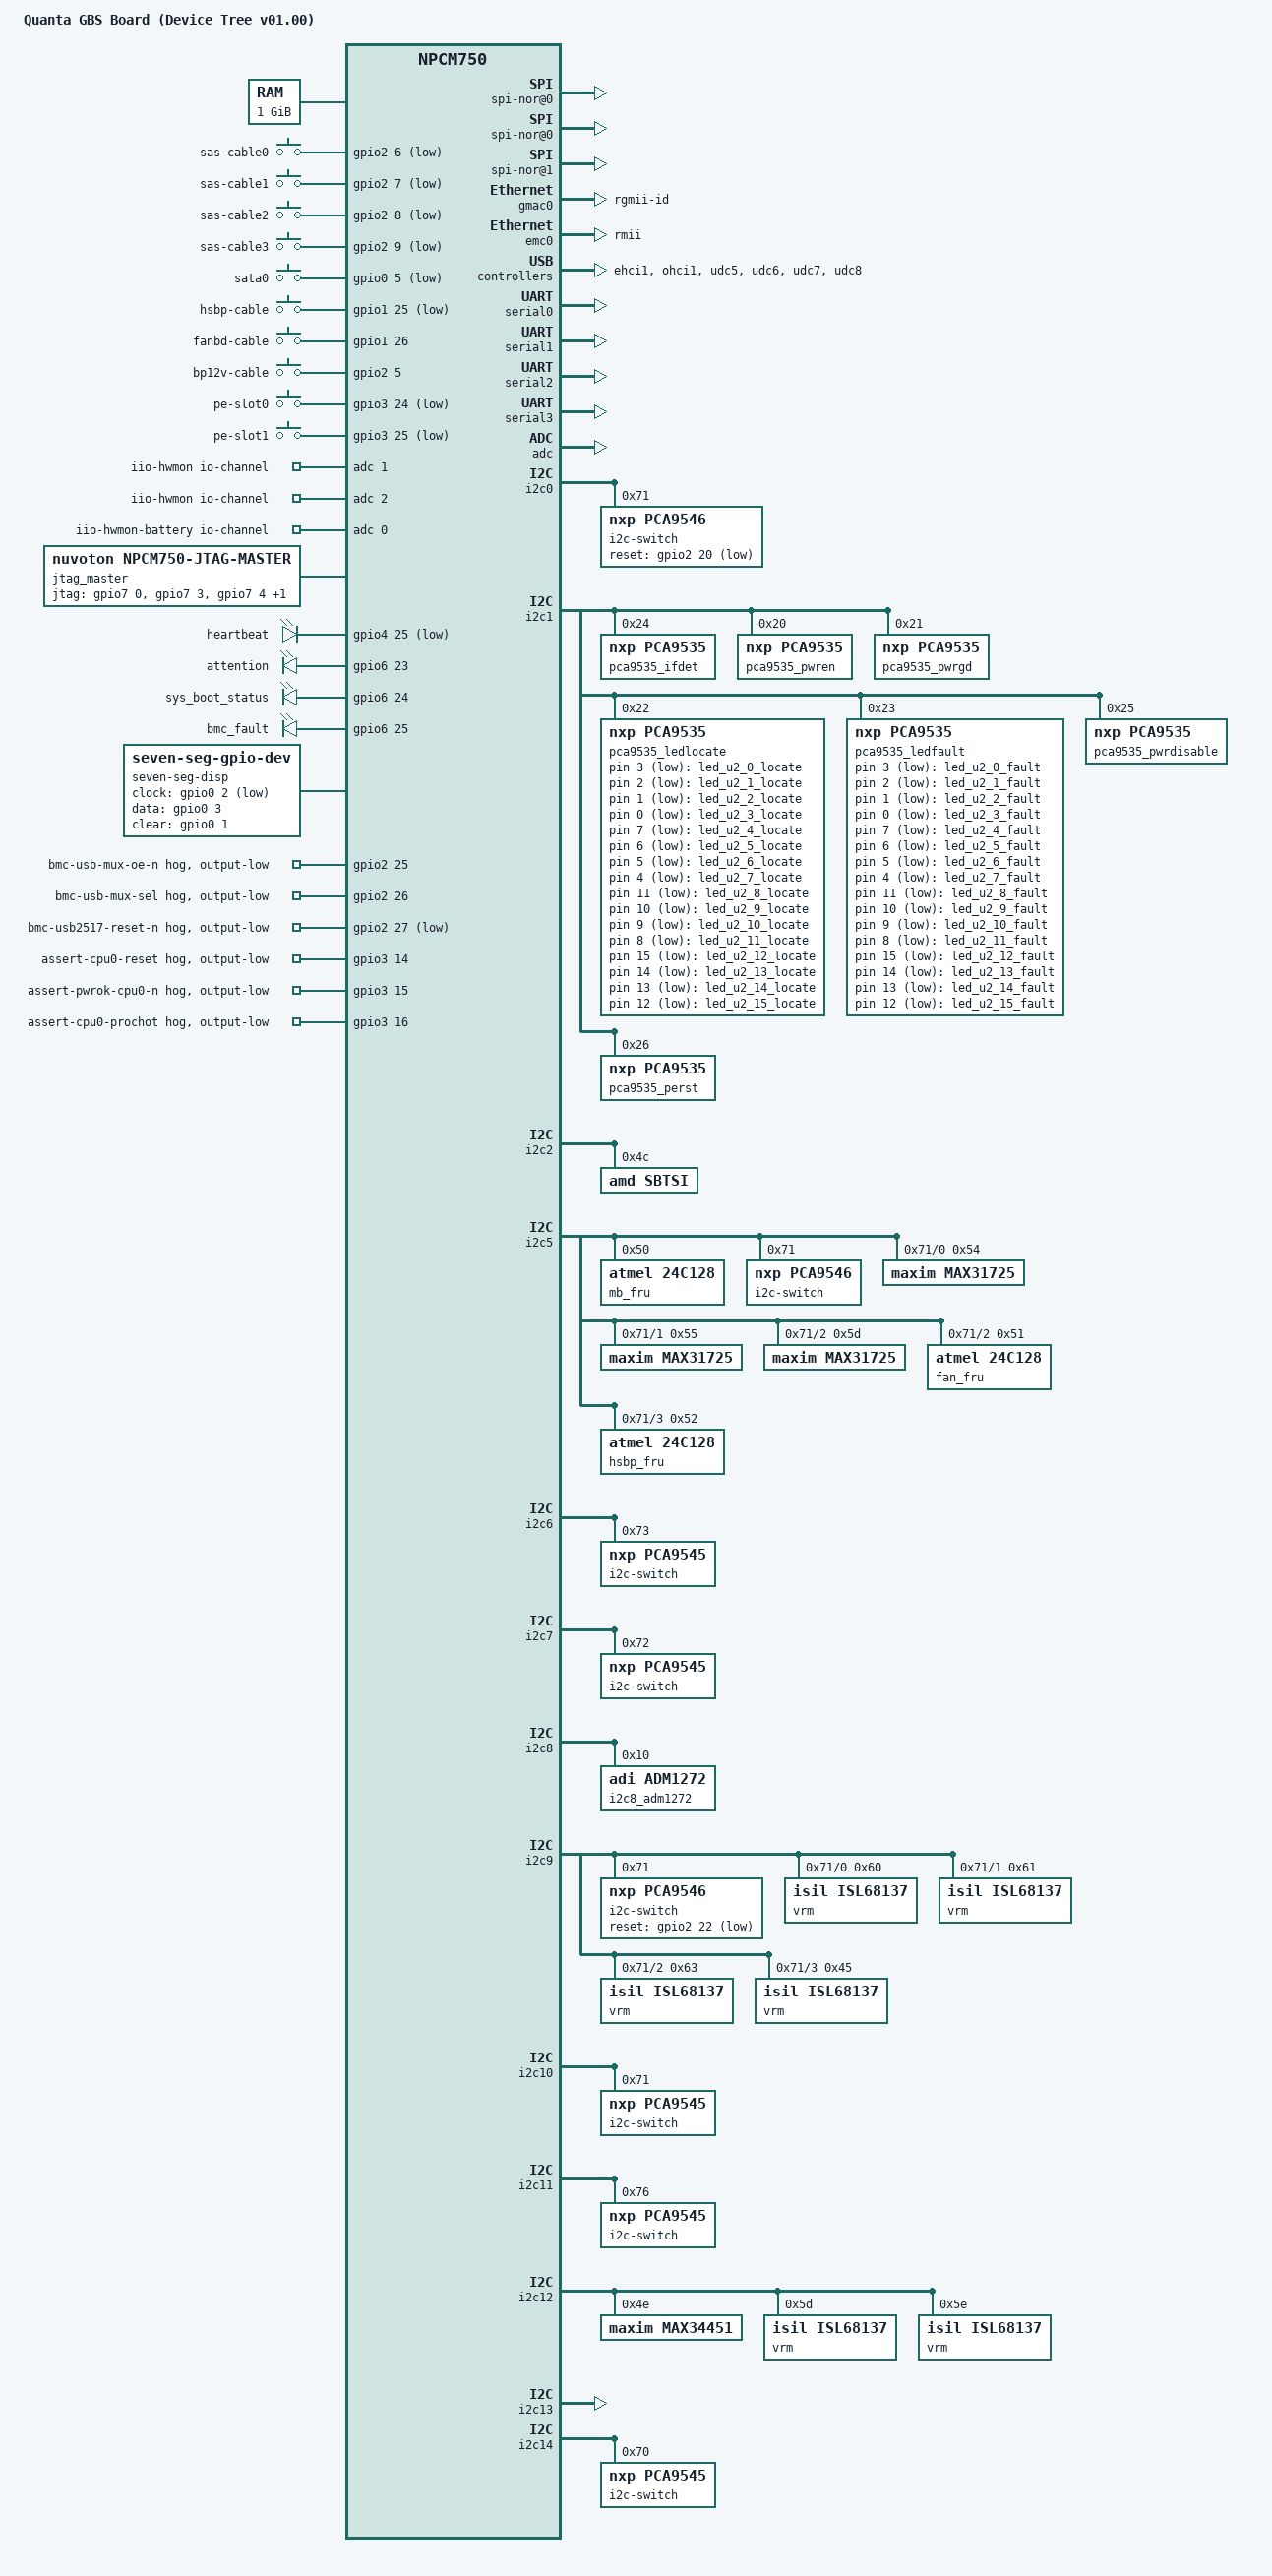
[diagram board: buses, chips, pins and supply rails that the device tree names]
// SPDX-License-Identifier: GPL-2.0
// Copyright (c) 2019 Nuvoton Technology kwliu@nuvoton.com
// Copyright (c) 2020 Quanta Computer Inc. Eddie.Lu@quantatw.com

/dts-v1/;
#include "nuvoton-npcm730.dtsi"
#include <dt-bindings/gpio/gpio.h>

/ {
	model = "Quanta GBS Board (Device Tree v01.00)";
	compatible = "nuvoton,npcm750";

	aliases {
		ethernet0 = &emc0;
		ethernet1 = &gmac0;
		serial0 = &serial0;
		serial1 = &serial1;
		serial2 = &serial2;
		serial3 = &serial3;
		udc5 = &udc5;
		udc6 = &udc6;
		udc7 = &udc7;
		udc8 = &udc8;
		i2c0 = &i2c0;
		i2c1 = &i2c1;
		i2c2 = &i2c2;
		i2c3 = &i2c3;
		i2c4 = &i2c4;
		i2c5 = &i2c5;
		i2c6 = &i2c6;
		i2c7 = &i2c7;
		i2c8 = &i2c8;
		i2c9 = &i2c9;
		i2c10 = &i2c10;
		i2c11 = &i2c11;
		i2c12 = &i2c12;
		i2c13 = &i2c13;
		i2c14 = &i2c14;
		i2c15 = &i2c15;
		fiu0 = &fiu0;
		fiu1 = &fiu3;
		i2c16 = &i2c0_slotPE0_0;
		i2c17 = &i2c0_slotPE1_1;
		i2c18 = &i2c0_slotUSB_2;
		i2c19 = &i2c0_3;
		i2c20 = &i2c5_i2cool_0;
		i2c21 = &i2c5_i2cool_1;
		i2c22 = &i2c5_i2cool_2;
		i2c23 = &i2c5_hsbp_fru_3;
		i2c24 = &i2c6_u2_15_0;
		i2c25 = &i2c6_u2_14_1;
		i2c26 = &i2c6_u2_13_2;
		i2c27 = &i2c6_u2_12_3;
		i2c28 = &i2c7_u2_11_0;
		i2c29 = &i2c7_u2_10_1;
		i2c30 = &i2c7_u2_9_2;
		i2c31 = &i2c7_u2_8_3;
		i2c32 = &i2c9_vddcr_cpu;
		i2c33 = &i2c9_vddcr_soc;
		i2c34 = &i2c9_vddio_efgh;
		i2c35 = &i2c9_vddio_abcd;
		i2c36 = &i2c10_u2_7_0;
		i2c37 = &i2c10_u2_6_1;
		i2c38 = &i2c10_u2_5_2;
		i2c39 = &i2c10_u2_4_3;
		i2c40 = &i2c11_clk_buf0_0;
		i2c41 = &i2c11_clk_buf1_1;
		i2c42 = &i2c11_clk_buf2_2;
		i2c43 = &i2c11_clk_buf3_3;
		i2c44 = &i2c14_u2_3_0;
		i2c45 = &i2c14_u2_2_1;
		i2c46 = &i2c14_u2_1_2;
		i2c47 = &i2c14_u2_0_3;
	};

	chosen {
		stdout-path = &serial0;
	};

	memory {
		reg = <0 0x40000000>;
	};

	soc {
		gcr: gcr@800000 { /* GCR_BA, System Global Control Registers */
			serial_port_mux: uart-mux-controller {
				compatible = "mmio-mux";
				#mux-control-cells = <1>;
				mux-reg-masks = <0x38 0x07>;
				idle-states = <2>; /* Serial port mode 3 (takeover) */
			};

			uart1_mode_mux: uart1-mode-mux-controller {
				compatible = "mmio-mux";
				#mux-control-cells = <1>;
				mux-reg-masks = <0x64 0x01000000>;
				idle-states = <0>; /* Set UART1 mode to normal (follow SPMOD) */
			};
		};
	};

	gpio-keys {
		compatible = "gpio-keys";
		sas-cable0 {
			label = "sas-cable0";
			gpios = <&gpio2 6 GPIO_ACTIVE_LOW>;
			linux,code = <70>;
		};

		sas-cable1 {
			label = "sas-cable1";
			gpios = <&gpio2 7 GPIO_ACTIVE_LOW>;
			linux,code = <71>;
		};

		sas-cable2 {
			label = "sas-cable2";
			gpios = <&gpio2 8 GPIO_ACTIVE_LOW>;
			linux,code = <72>;
		};

		sas-cable3 {
			label = "sas-cable3";
			gpios = <&gpio2 9 GPIO_ACTIVE_LOW>;
			linux,code = <73>;
		};

		sata0 {
			label = "sata0";
			gpios = <&gpio0 5 GPIO_ACTIVE_LOW>;
			linux,code = <5>;
		};

		hsbp-cable {
			label = "hsbp-cable";
			gpios = <&gpio1 25 GPIO_ACTIVE_LOW>;
			linux,code = <57>;
		};

		fanbd-cable {
			label = "fanbd-cable";
			gpios = <&gpio1 26 GPIO_ACTIVE_HIGH>;
			linux,code = <58>;
		};

		bp12v-cable {
			label = "bp12v-cable";
			gpios = <&gpio2 5 GPIO_ACTIVE_HIGH>;
			linux,code = <69>;
		};

		pe-slot0 {
			label = "pe-slot0";
			gpios = <&gpio3 24 GPIO_ACTIVE_LOW>;
			linux,code = <120>;
		};

		pe-slot1 {
			label = "pe-slot1";
			gpios = <&gpio3 25 GPIO_ACTIVE_LOW>;
			linux,code = <121>;
		};
	};

	iio-hwmon {
		compatible = "iio-hwmon";
		io-channels = <&adc 1>, <&adc 2>;
	};

	iio-hwmon-battery {
		compatible = "iio-hwmon";
		io-channels = <&adc 0>;
	};

	jtag_master { /* Connect to CPLD by using GPIO */
		compatible = "nuvoton,npcm750-jtag-master";
		#address-cells = <1>;
		#size-cells = <1>;

		dev-num = <0>; /* /dev/jtag0 */
		mode = "gpio"; /* pspi or gpio */

		jtag-gpios = <&gpio7 0 GPIO_ACTIVE_HIGH>, /* TCK - gpio224 */
				<&gpio7 3 GPIO_ACTIVE_HIGH>, /* TDI - gpio227 */
				<&gpio7 4 GPIO_ACTIVE_HIGH>, /* TDO - gpio228 */
				<&gpio7 6 GPIO_ACTIVE_HIGH>; /* TMS - gpio230 */

		status = "okay";
	};

	leds {
		compatible = "gpio-leds";
		
		heartbeat { /* gpio153 */
			gpios = <&gpio4 25 GPIO_ACTIVE_LOW>;
			linux,default-trigger = "heartbeat";
		};

		attention { /* gpio215 */
			gpios = <&gpio6 23 GPIO_ACTIVE_HIGH>;
			default-state = "off";
		};

		sys_boot_status { /* gpio216 */
			gpios = <&gpio6 24 GPIO_ACTIVE_HIGH>;
			default-state = "keep";
			retain-state-shutdown;
		};

		bmc_fault { /* gpio217 */
			gpios = <&gpio6 25 GPIO_ACTIVE_HIGH>;
			default-state = "off";
			linux,default-trigger = "panic";
			panic-indicator;
		};
		
		led_u2_0_locate {
			gpios = <&pca9535_ledlocate 3 GPIO_ACTIVE_LOW>;
			default-state = "off";
		};

		led_u2_1_locate {
			gpios = <&pca9535_ledlocate 2 GPIO_ACTIVE_LOW>;
			default-state = "off";
		};

		led_u2_2_locate {
			gpios = <&pca9535_ledlocate 1 GPIO_ACTIVE_LOW>;
			default-state = "off";
		};

		led_u2_3_locate {
			gpios = <&pca9535_ledlocate 0 GPIO_ACTIVE_LOW>;
			default-state = "off";
		};

		led_u2_4_locate {
			gpios = <&pca9535_ledlocate 7 GPIO_ACTIVE_LOW>;
			default-state = "off";
		};

		led_u2_5_locate {
			gpios = <&pca9535_ledlocate 6 GPIO_ACTIVE_LOW>;
			default-state = "off";
		};

		led_u2_6_locate {
			gpios = <&pca9535_ledlocate 5 GPIO_ACTIVE_LOW>;
			default-state = "off";
		};

		led_u2_7_locate {
			gpios = <&pca9535_ledlocate 4 GPIO_ACTIVE_LOW>;
			default-state = "off";
		};

		led_u2_8_locate {
			gpios = <&pca9535_ledlocate 11 GPIO_ACTIVE_LOW>;
			default-state = "off";
		};

		led_u2_9_locate {
			gpios = <&pca9535_ledlocate 10 GPIO_ACTIVE_LOW>;
			default-state = "off";
		};

		led_u2_10_locate {
			gpios = <&pca9535_ledlocate 9 GPIO_ACTIVE_LOW>;
			default-state = "off";
		};

		led_u2_11_locate {
			gpios = <&pca9535_ledlocate 8 GPIO_ACTIVE_LOW>;
			default-state = "off";
		};

		led_u2_12_locate {
			gpios = <&pca9535_ledlocate 15 GPIO_ACTIVE_LOW>;
			default-state = "off";
		};

		led_u2_13_locate {
			gpios = <&pca9535_ledlocate 14 GPIO_ACTIVE_LOW>;
			default-state = "off";
		};

		led_u2_14_locate {
			gpios = <&pca9535_ledlocate 13 GPIO_ACTIVE_LOW>;
			default-state = "off";
		};

		led_u2_15_locate {
			gpios = <&pca9535_ledlocate 12 GPIO_ACTIVE_LOW>;
			default-state = "off";
		};

		led_u2_0_fault {
			gpios = <&pca9535_ledfault 3 GPIO_ACTIVE_LOW>;
			default-state = "off";
		};

		led_u2_1_fault {
			gpios = <&pca9535_ledfault 2 GPIO_ACTIVE_LOW>;
			default-state = "off";
		};

		led_u2_2_fault {
			gpios = <&pca9535_ledfault 1 GPIO_ACTIVE_LOW>;
			default-state = "off";
		};

		led_u2_3_fault {
			gpios = <&pca9535_ledfault 0 GPIO_ACTIVE_LOW>;
			default-state = "off";
		};

		led_u2_4_fault {
			gpios = <&pca9535_ledfault 7 GPIO_ACTIVE_LOW>;
			default-state = "off";
		};

		led_u2_5_fault {
			gpios = <&pca9535_ledfault 6 GPIO_ACTIVE_LOW>;
			default-state = "off";
		};

		led_u2_6_fault {
			gpios = <&pca9535_ledfault 5 GPIO_ACTIVE_LOW>;
			default-state = "off";
		};

		led_u2_7_fault {
			gpios = <&pca9535_ledfault 4 GPIO_ACTIVE_LOW>;
			default-state = "off";
		};

		led_u2_8_fault {
			gpios = <&pca9535_ledfault 11 GPIO_ACTIVE_LOW>;
			default-state = "off";
		};

		led_u2_9_fault {
			gpios = <&pca9535_ledfault 10 GPIO_ACTIVE_LOW>;
			default-state = "off";
		};

		led_u2_10_fault {
			gpios = <&pca9535_ledfault 9 GPIO_ACTIVE_LOW>;
			default-state = "off";
		};

		led_u2_11_fault {
			gpios = <&pca9535_ledfault 8 GPIO_ACTIVE_LOW>;
			default-state = "off";
		};

		led_u2_12_fault {
			gpios = <&pca9535_ledfault 15 GPIO_ACTIVE_LOW>;
			default-state = "off";
		};

		led_u2_13_fault {
			gpios = <&pca9535_ledfault 14 GPIO_ACTIVE_LOW>;
			default-state = "off";
		};

		led_u2_14_fault {
			gpios = <&pca9535_ledfault 13 GPIO_ACTIVE_LOW>;
			default-state = "off";
		};

		led_u2_15_fault {
			gpios = <&pca9535_ledfault 12 GPIO_ACTIVE_LOW>;
			default-state = "off";
		};

	};

	seven-seg-disp {
		compatible = "seven-seg-gpio-dev";
		refresh-interval-ms = /bits/ 16 <600>;
		clock-gpios = <&gpio0 2 GPIO_ACTIVE_LOW>;
		data-gpios = <&gpio0 3 GPIO_ACTIVE_HIGH>;
		clear-gpios = <&gpio0 1 GPIO_ACTIVE_HIGH>;
	};

	pcie-slot {
		pcie1: pcie-slot@1 {
			label = "PE0";
		};
		pcie2: pcie-slot@2 {
			label = "PE1";
		};
	};

	ahb { /* AHB Matrix */
		fiu0: fiu@fb000000 { /* SPI0_BA, FIU0 (for SPI0) Registers ; FIU (Flash Interface Unit) */
			pinctrl-names = "default";
			pinctrl-0 = <&spi0cs1_pins>;
			status = "okay";
			spi-nor@0 {
				compatible = "jedec,spi-nor";
				#address-cells = <1>;
				#size-cells = <1>;
				reg = <0>;
				spi-max-frequency = <19000000>;
				spi-rx-bus-width = <2>;
				label = "bmc";
				partitions@80000000 {
					compatible = "fixed-partitions";
					#address-cells = <1>;
					#size-cells = <1>;
					u-boot@0 {
						label = "u-boot";
						reg = <0x0000000 0x80000>;
					};
					u-boot-env@100000{
						label = "u-boot-env";
						reg = <0x00100000 0x40000>;
					};
					kernel@200000 {
						label = "kernel";
						reg = <0x0200000 0x500000>;
					};
					rofs@720000 {
						label = "rofs";
						reg = <0x720000 0x34e0000>;
					};
					rwfs@3c00000 {
						label = "rwfs";
						reg = <0x3c00000 0x300000>;
					};
					reserved@3f00000 {
						label = "reserved";
						reg = <0x3f00000 0x100000>;
					};
				};
			};
		};

		fiu3: fiu@c0000000 { /* SPI3_BA, FIU3 (for SPI3) Registers */
			pinctrl-0 = <&spi3_pins>, <&spi3cs1_pins>;
			status = "okay";

			spi-nor@0 {
				compatible = "jedec,spi-nor";
				#address-cells = <1>;
				#size-cells = <1>;
				reg = <0>;
				spi-max-frequency = <50000000>;
				spi-rx-bus-width = <2>;
				m25p,fast-read;
				label = "pnor";
			};
			spi-nor@1 {
				compatible = "jedec,spi-nor";
				#address-cells = <1>;
				#size-cells = <1>;
				reg = <1>;
				spi-max-frequency = <50000000>;
				spi-rx-bus-width = <2>;
				m25p,fast-read;
			};
		};

		gmac0: eth@f0802000 { /* [gmac0: eth@f0802000] GMAC1_BA, Gigabit Ethernet MAC 1 (GMAC1) Control Registers */
			status = "okay";
			phy-mode = "rgmii-id";
			snps,eee-force-disable;
		};

		emc0: eth@f0825000 { /* [emc0: eth@f0825000] EMC1_BA, Ethernet 10/100 MAC Controller (EMC1) Registers */
			status = "okay";
			phy-mode = "rmii";
			use-ncsi;
		};

		mc: memory-controller@f0824000 { /* MC_BA, Memory Controller DDR4 Protocol Controller Registers */
			compatible = "nuvoton,npcm7xx-sdram-edac";
			reg = <0xf0824000 0x1000>;
			interrupts = <GIC_SPI 25 IRQ_TYPE_LEVEL_HIGH>;
		};

		ehci1: usb@f0806000 { /* USBH_BA, USB Host Controller EHCI Registers */
			status = "okay";
		};

		ohci1: ohci@f0807000 { /* USBHO_BA, USB Host Controller OHCI Registers */
			status = "okay";
		};

		aes: aes@f0858000 { /* AES_BA, Advances Encryption Standard Encryption Accelerator (AES) */
			status = "okay";
		};

		sha: sha@f085a000 { /* SHA_BA, SHA-1 and SHA-256 Accelerator (SHA) */
			status = "okay";
		};
		
		udc5:udc@f0835000 {
			status = "okay";
		};

		udc6:udc@f0836000 {
			status = "okay";
		};

		udc7:udc@f0837000 {
			status = "okay";
		};

		udc8:udc@f0838000 {
			status = "okay";
		};

		pcimbox: pcimbox@f0848000 { /* PCIMBX_AB, Internal AHB to PCI Mailbox RAM (16KB) and registers */
			status = "okay";
		};

		apb { /* F000_0000h - */
			watchdog1: watchdog@901C { /* F000_9000h - F000_9FFFh, TMR1_BA, Timer 1 Control Registers (Timer Module 1) */
				status = "okay";
			};

			rng: rng@b000 { /* RNG_BA, Random Number Generator Control Registers */
				status = "okay";
			};

			serial0: serial@1000 { /* UART0_BA, UART 0 Control Registers (Tx, Rx for console) */
				status = "okay";
			};

			serial1: serial@2000 { /* UART1_BA, UART 1 Control Registers (Tx, Rx and modem controls) */
				status = "okay";
			};

			serial2: serial@3000 { /* UART2_BA, UART 2 Control Registers (Tx, Rx and modem controls) */
				status = "okay";
			};

			serial3: serial@4000 { /* UART3_BA, UART 3 Control Registers (Tx, Rx and modem controls) */
				status = "okay";
			};

			adc: adc@c000 { /* ADC_BA, ADC Control Registers */
				#io-channel-cells = <1>;
				status = "okay";
			};

			otp:otp@189000 { /* F018_9000h - F018_9FFFh, OTP1_BA, OTP ROM (Fuse) Registers (Key Storage Array) */
				status = "okay";
			};

			lpc_kcs: lpc_kcs@7000 { /* F000_7000h - F000_7FFFh, KCS_BA, KCS Interface Control Registers */

				kcs1: kcs1@0 {
					status = "okay";
				};

				kcs2: kcs2@0 {
					status = "okay";
				};

				kcs3: kcs3@0 {
					status = "okay";
				};
			};

			lpc_host: lpc_host@7000 {

				lpc_bpc: lpc_bpc@40 {
					monitor-ports = <0x80>;
					status = "okay";
				};
			};

			i2c0: i2c@80000 { /* SMB0_BA, SMBus 0 Control Registers */
				#address-cells = <1>;
				#size-cells = <0>;
				bus-frequency = <100000>;
				status = "okay";

				i2c-switch@71 {
					compatible = "nxp,pca9546";
					#address-cells = <1>;
					#size-cells = <0>;
					reg = <0x71>;
					i2c-mux-idle-disconnect;
					/* GPIO 84: RST_PCA9546_CPU0_N */
					reset-gpios = <&gpio2 20 GPIO_ACTIVE_LOW>;
					
					i2c0_slotPE0_0: i2c@0 {
						#address-cells = <1>;
						#size-cells = <0>;
						reg = <0>;
						pcie-slot = &pcie1;
					};
					
					i2c0_slotPE1_1: i2c@1 {
						#address-cells = <1>;
						#size-cells = <0>;
						reg = <1>;
						pcie-slot = &pcie2;
					};

					i2c0_slotUSB_2: i2c@2 {
						#address-cells = <1>;
						#size-cells = <0>;
						reg = <2>;
					};

					i2c0_3: i2c@3 {
						#address-cells = <1>;
						#size-cells = <0>;
						reg = <3>;
					};
				};
			};

			i2c1: i2c@81000 { /* SMB1_BA, SMBus 1 Control Registers */
				#address-cells = <1>;
				#size-cells = <0>;
				bus-frequency = <100000>;
				status = "okay";

				pca9535_ifdet: pca9535-ifdet@24 {
					compatible = "nxp,pca9535";
					reg = <0x24>;
					gpio-controller;
					#gpio-cells = <2>;
					
					U41_P0_0 {
						gpios = <0 0>;
						input;
					};
					U41_P0_1 {
						gpios = <1 0>;
						input;
					};
					U41_P0_2 {
						gpios = <2 0>;
						input;
					};
					U41_P0_3 {
						gpios = <3 0>;
						input;
					};
					U41_P0_4 {
						gpios = <4 0>;
						output-high;
					};
					U41_P0_5 {
						gpios = <5 0>;
						input;
					};
					U41_P0_6 {
						gpios = <6 0>;
						input;
					};
					U41_P0_7 {
						gpios = <7 0>;
						input;
					};
					U41_P1_0 {
						gpios = <8 0>;
						input;
					};
					U41_P1_1 {
						gpios = <9 0>;
						input;
					};
					U41_P1_2 {
						gpios = <10 0>;
						input;
					};
					U41_P1_3 {
						gpios = <11 0>;
						input;
					};
					U41_P1_4 {
						gpios = <12 0>;
						input;
					};
					U41_P1_5 {
						gpios = <13 0>;
						input;
					};
					U41_P1_6 {
						gpios = <14 0>;
						input;
					};
					U41_P1_7 {
						gpios = <15 0>;
						input;
					};
				};
				pca9535_pwren: pca9535-pwren@20 {
					compatible = "nxp,pca9535";
					reg = <0x20>;
					gpio-controller;
					#gpio-cells = <2>;
					
					gpio-line-names =
						"pwr_u2_3_en","pwr_u2_2_en","pwr_u2_1_en","pwr_u2_0_en",
						"pwr_u2_7_en","pwr_u2_6_en","pwr_u2_5_en","pwr_u2_4_en",
						"pwr_u2_11_en","pwr_u2_10_en","pwr_u2_9_en","pwr_u2_8_en",
						"pwr_u2_15_en","pwr_u2_14_en","pwr_u2_13_en","pwr_u2_12_en";
				};
				pca9535_pwrgd: pca9535-pwrgd@21 {
					compatible = "nxp,pca9535";
					reg = <0x21>;
					gpio-controller;
					#gpio-cells = <2>;
					
					U43_P0_0 {
						gpios = <0 0>;
						input;
					};
					U43_P0_1 {
						gpios = <1 0>;
						input;
					};
					U43_P0_2 {
						gpios = <2 0>;
						input;
					};
					U43_P0_3 {
						gpios = <3 0>;
						input;
					};
					U43_P0_4 {
						gpios = <4 0>;
						input;
					};
					U43_P0_5 {
						gpios = <5 0>;
						input;
					};
					U43_P0_6 {
						gpios = <6 0>;
						input;
					};
					U43_P0_7 {
						gpios = <7 0>;
						input;
					};
					U43_P1_0 {
						gpios = <8 0>;
						input;
					};
					U43_P1_1 {
						gpios = <9 0>;
						input;
					};
					U43_P1_2 {
						gpios = <10 0>;
						input;
					};
					U43_P1_3 {
						gpios = <11 0>;
						input;
					};
					U43_P1_4 {
						gpios = <12 0>;
						input;
					};
					U43_P1_5 {
						gpios = <13 0>;
						input;
					};
					U43_P1_6 {
						gpios = <14 0>;
						input;
					};
					U43_P1_7 {
						gpios = <15 0>;
						input;
					};
				};
				pca9535_ledlocate: pca9535-ledlocate@22 {
					compatible = "nxp,pca9535";
					reg = <0x22>;
					gpio-controller;
					#gpio-cells = <2>;

				};
				pca9535_ledfault: pca9535-ledfault@23 {
					compatible = "nxp,pca9535";
					reg = <0x23>;
					gpio-controller;
					#gpio-cells = <2>;

				};
				pca9535_pwrdisable: pca9535-pwrdisable@25 {
					compatible = "nxp,pca9535";
					reg = <0x25>;
					gpio-controller;
					#gpio-cells = <2>;

					gpio-line-names =
						"u2_3_pwr_dis","u2_2_pwr_dis","u2_1_pwr_dis","u2_0_pwr_dis",
						"u2_7_pwr_dis","u2_6_pwr_dis","u2_5_pwr_dis","u2_4_pwr_dis",
						"u2_11_pwr_dis","u2_10_pwr_dis","u2_9_pwr_dis","u2_8_pwr_dis",
						"u2_15_pwr_dis","u2_14_pwr_dis","u2_13_pwr_dis","u2_12_pwr_dis";
				};
				pca9535_perst: pca9535-perst@26 {
					compatible = "nxp,pca9535";
					reg = <0x26>;
					gpio-controller;
					#gpio-cells = <2>;

					gpio-line-names =
						"u2_3_perst","u2_2_perst","u2_1_perst","u2_0_perst",
						"u2_7_perst","u2_6_perst","u2_5_perst","u2_4_perst",
						"u2_11_perst","u2_10_perst","u2_9_perst","u2_8_perst",
						"u2_15_perst","u2_14_perst","u2_13_perst","u2_12_perst";
				};
			};

			i2c2: i2c@82000 { /* SMB2_BA, SMBus 2 Control Registers */
				#address-cells = <1>;
				#size-cells = <0>;
				bus-frequency = <100000>;
				status = "okay";

				sbtsi@4c {
					compatible = "amd,sbtsi";
					reg = <0x4c>;
				};
			};

			i2c3: i2c@83000 { /* SMB3_BA, SMBus 3 Control Registers */
				/* Connected to CPU DIMM SPDs via an i2c mux. No interest to enable. */
				status = "disabled";
			};

			i2c4: i2c@84000 { /* SMB4_BA, SMBus 4 Control Registers */
				/* Connected to CPU i2c. Not used. */
				status = "disabled";
			};

			i2c5: i2c@85000 { /* SMB5_BA, SMBus 5 Control Registers */
				#address-cells = <1>;
				#size-cells = <0>;
				bus-frequency = <100000>;
				status = "okay";
				
				mb_fru@50 {
					compatible = "atmel,24c128";
					reg = <0x50>;
				};

				i2c-switch@71 {
					compatible = "nxp,pca9546";
					#address-cells = <1>;
					#size-cells = <0>;
					reg = <0x71>;
					i2c-mux-idle-disconnect;

					i2c5_i2cool_0: i2c@0 {
						#address-cells = <1>;
						#size-cells = <0>;
						reg = <0>;
						max31725@54 {
							compatible = "maxim,max31725";
							reg = <0x54>;
							status = "okay";
						};
					};
					i2c5_i2cool_1: i2c@1 {
						#address-cells = <1>;
						#size-cells = <0>;
						reg = <1>;
						max31725@55 {
							compatible = "maxim,max31725";
							reg = <0x55>;
							status = "okay";
						};
					};
					i2c5_i2cool_2: i2c@2 {
						#address-cells = <1>;
						#size-cells = <0>;
						reg = <2>;
						max31725@5d {
							compatible = "maxim,max31725";
							reg = <0x5d>;
							status = "okay";
						};
						fan_fru@51 {
							compatible = "atmel,24c128";
							reg = <0x51>;
						};
					};
					i2c5_hsbp_fru_3: i2c@3 {
						#address-cells = <1>;
						#size-cells = <0>;
						reg = <3>;
						hsbp_fru@52 {
							compatible = "atmel,24c128";
							reg = <0x52>;
							status = "okay";
						};
					};
					
				};
			};

			i2c6: i2c@86000 { /* SMB6_BA, SMBus 6 Control Registers */
				#address-cells = <1>;
				#size-cells = <0>;
				bus-frequency = <100000>;
				status = "okay";

				i2c-switch@73 {
					compatible = "nxp,pca9545";
					#address-cells = <1>;
					#size-cells = <0>;
					reg = <0x73>;
					i2c-mux-idle-disconnect;

					i2c6_u2_15_0: i2c@0 {
						#address-cells = <1>;
						#size-cells = <0>;
						reg = <0>;
					};

					i2c6_u2_14_1: i2c@1 {
						#address-cells = <1>;
						#size-cells = <0>;
						reg = <1>;
					};
					i2c6_u2_13_2: i2c@2 {
						#address-cells = <1>;
						#size-cells = <0>;
						reg = <2>;
					};

					i2c6_u2_12_3: i2c@3 {
						#address-cells = <1>;
						#size-cells = <0>;
						reg = <3>;
					};
				};

			};

			i2c7: i2c@87000 { /* SMB7_BA, SMBus 7 Control Registers */
				#address-cells = <1>;
				#size-cells = <0>;
				bus-frequency = <100000>;
				status = "okay";
				
				i2c-switch@72 {
					compatible = "nxp,pca9545";
					#address-cells = <1>;
					#size-cells = <0>;
					reg = <0x72>;
					i2c-mux-idle-disconnect;

					i2c7_u2_11_0: i2c@0 {
						#address-cells = <1>;
						#size-cells = <0>;
						reg = <0>;
					};

					i2c7_u2_10_1: i2c@1 {
						#address-cells = <1>;
						#size-cells = <0>;
						reg = <1>;
					};
					i2c7_u2_9_2: i2c@2 {
						#address-cells = <1>;
						#size-cells = <0>;
						reg = <2>;
					};

					i2c7_u2_8_3: i2c@3 {
						#address-cells = <1>;
						#size-cells = <0>;
						reg = <3>;
					};
				};
			};

			i2c8: i2c@88000 { /* SMB8_BA, SMBus 8 Control Registers */
				#address-cells = <1>;
				#size-cells = <0>;
				bus-frequency = <100000>;
				status = "okay";

				i2c8_adm1272: adm1272@10 {
					compatible = "adi,adm1272";
					#address-cells = <1>;
					#size-cells = <0>;
					reg = <0x10>;
					shunt-resistor-micro-ohms = <300>;
				};
			};

			i2c9: i2c@89000 { /* SMB9_BA, SMBus 9 Control Registers */
				#address-cells = <1>;
				#size-cells = <0>;
				bus-frequency = <100000>;
				status = "okay";

				i2c-switch@71 {
					compatible = "nxp,pca9546";
					#address-cells = <1>;
					#size-cells = <0>;
					reg = <0x71>;
					i2c-mux-idle-disconnect;
					/* GPIO86: RST_PCA9546_CPU0_VR_N */
					reset-gpios = <&gpio2 22 GPIO_ACTIVE_LOW>;

					i2c9_vddcr_cpu: i2c@0 { /* ISL690247_ISL99390*7 */
						#address-cells = <1>;
						#size-cells = <0>;
						reg = <0>;
						vrm@60 {
							compatible = "isil,isl68137";
							reg = <0x60>;
						};
					};

					i2c9_vddcr_soc: i2c@1 { /* ISL69243_ISL99390*3 */
						#address-cells = <1>;
						#size-cells = <0>;
						reg = <1>;
						vrm@61 {
							compatible = "isil,isl68137";
							reg = <0x61>;
						};
					};

					i2c9_vddio_efgh: i2c@2 { /* ISL69225_ISL99380*4_ISL99360*1 */
						#address-cells = <1>;
						#size-cells = <0>;
						reg = <2>;
						vrm@63 {
							compatible = "isil,isl68137";
							reg = <0x63>;
						};
					};

					i2c9_vddio_abcd: i2c@3 { /* ISL69225_ISL99380*4_ISL99360*1 */
						#address-cells = <1>;
						#size-cells = <0>;
						reg = <3>;
						vrm@45 {
							compatible = "isil,isl68137";
							reg = <0x45>;
						};
					};
				};

			};

			i2c10: i2c@8a000 { /* SMB10_BA, SMBus 10 Control Registers */
				#address-cells = <1>;
				#size-cells = <0>;
				bus-frequency = <100000>;
				status = "okay";

				i2c-switch@71 {
					compatible = "nxp,pca9545";
					#address-cells = <1>;
					#size-cells = <0>;
					reg = <0x71>;
					i2c-mux-idle-disconnect;

					i2c10_u2_7_0: i2c@0 {
						#address-cells = <1>;
						#size-cells = <0>;
						reg = <0>;
					};

					i2c10_u2_6_1: i2c@1 {
						#address-cells = <1>;
						#size-cells = <0>;
						reg = <1>;
					};
					i2c10_u2_5_2: i2c@2 {
						#address-cells = <1>;
						#size-cells = <0>;
						reg = <2>;
					};

					i2c10_u2_4_3: i2c@3 {
						#address-cells = <1>;
						#size-cells = <0>;
						reg = <3>;
					};
				};
			};

			i2c11: i2c@8b000 { /* SMB11_BA, SMBus 11 Control Registers */
				#address-cells = <1>;
				#size-cells = <0>;
				bus-frequency = <100000>;
				status = "okay";
				
				i2c-switch@76 {
					compatible = "nxp,pca9545";
					#address-cells = <1>;
					#size-cells = <0>;
					reg = <0x76>;
					i2c-mux-idle-disconnect;

					i2c11_clk_buf0_0: i2c@0 {
						#address-cells = <1>;
						#size-cells = <0>;
						reg = <0>;
					};

					i2c11_clk_buf1_1: i2c@1 {
						#address-cells = <1>;
						#size-cells = <0>;
						reg = <1>;
					};
					i2c11_clk_buf2_2: i2c@2 {
						#address-cells = <1>;
						#size-cells = <0>;
						reg = <2>;
					};

					i2c11_clk_buf3_3: i2c@3 {
						#address-cells = <1>;
						#size-cells = <0>;
						reg = <3>;
					};
				};
			};

			i2c12: i2c@8c000 { /* SMB12_BA, SMBus 12 Control Registers */
				#address-cells = <1>;
				#size-cells = <0>;
				bus-frequency = <100000>;
				status = "okay";

				max34451@4e {
					compatible = "maxim,max34451";
					reg = <0x4e>;
				};
				
				vrm@5d {
					compatible = "isil,isl68137";
					reg = <0x5d>;
				};
				vrm@5e {
					compatible = "isil,isl68137";
					reg = <0x5e>;
				};
			};

			i2c13: i2c@8d000 { /* SMB13_BA, SMBus 13 Control Registers */
				#address-cells = <1>;
				#size-cells = <0>;
				bus-frequency = <100000>;
				status = "okay";
			};

			i2c14: i2c@8e000 { /* SMB14_BA, SMBus 14 Control Registers */
				#address-cells = <1>;
				#size-cells = <0>;
				bus-frequency = <100000>;
				status = "okay";
				i2c-switch@70 {
					compatible = "nxp,pca9545";
					#address-cells = <1>;
					#size-cells = <0>;
					reg = <0x70>;
					i2c-mux-idle-disconnect;

					i2c14_u2_3_0: i2c@0 {
						#address-cells = <1>;
						#size-cells = <0>;
						reg = <0>;
					};

					i2c14_u2_2_1: i2c@1 {
						#address-cells = <1>;
						#size-cells = <0>;
						reg = <1>;
					};
					i2c14_u2_1_2: i2c@2 {
						#address-cells = <1>;
						#size-cells = <0>;
						reg = <2>;
					};

					i2c14_u2_0_3: i2c@3 {
						#address-cells = <1>;
						#size-cells = <0>;
						reg = <3>;
					};
				};
			};

			i2c15: i2c@8f000 { /* SMB15_BA, SMBus 15 Control Registers */
				/* Nothing connected. */
				status = "disabled";
			};

			pwm_fan:pwm-fan-controller@103000 { /* F010_3000h - F010_3FFFh, PWMM0_BA, Pulse Width Modulation (PWM) Module 0 Control Registers */
				pinctrl-names = "default";
				pinctrl-0 = <
					&pwm0_pins &pwm1_pins
					&pwm2_pins &pwm3_pins
					&pwm4_pins
					&fanin0_pins &fanin1_pins
					&fanin2_pins &fanin3_pins
					&fanin4_pins
				>;
				status = "okay";
				
				fan@0 {
					reg = <0x00>;
					fan-tach-ch = /bits/ 8 <0x00>;
					// cooling-levels = /bits/ 8 <127 255>;
				};

				fan@1 {
					reg = <0x01>;
					fan-tach-ch = /bits/ 8 <0x01>;
					// cooling-levels = /bits/ 8 <127 255>;
				};

				fan@2 {
					reg = <0x02>;
					fan-tach-ch = /bits/ 8 <0x02>;
					// cooling-levels = /bits/ 8 <127 255>;
				};
				fan@3 {
					reg = <0x03>;
					fan-tach-ch = /bits/ 8 <0x03>;
					// cooling-levels = /bits/ 8 <127 255>;
				};

				fan@4 {
					reg = <0x04>;
					fan-tach-ch = /bits/ 8 <0x04>;
					// cooling-levels = /bits/ 8 <127 255>;
				};
			};
		};
	};

	pinctrl: pinctrl@f0800000 { /* AHB Matrix (part 2) */
		status = "okay";
		pinctrl-names = "default";

		gpio0: gpio@f0010000 {
			/* POWER_OUT=gpio07, RESET_OUT=gpio06, PS_PWROK=gpio13 (ALL_POWER_GOOD_BMC) */
			gpio-line-names =
			/*0-31*/
			"","","","","","","RESET_OUT","POWER_OUT",
			"","","","","","PS_PWROK","","",
			"","","","","","","","",
			"","","","","","","","";
		};
		gpio1: gpio@f0011000 {
			/* SIO_POWER_GOOD=gpio59 (PWRGD_OUT_CPU_BMC) */
			gpio-line-names =
			/*32-63*/
			"","","","","","","","",
			"","","","","","","","",
			"","","","","","","","",
			"","","","SIO_POWER_GOOD","","","","";
		};
		gpio2: gpio@f0012000 {
			/* Hog GPIOs for USB mux. GPIOs 89-91 are part of gpio2 which controls
			* GPIOs 64-95 (specified by gpio-ranges) defined in
			* nuvoton-common-npcm7xx.dtsi:784:
			*
			*    gpio2: gpio@f0012000 {
			*       ...
			*       gpio-ranges = <&pinctrl 0 64 32>;
			*    };
			*
			* 89 - 64 = 25 is then the offset for GPIO 89 in gpio2 and so on. */

			bmc_usb_mux_oe_n {
				gpio-hog;
				gpios = <25 GPIO_ACTIVE_HIGH>; /* GPIO89 */
				output-low;
				line-name = "bmc-usb-mux-oe-n";
			};

			bmc_usb_mux_sel {
				gpio-hog;
				gpios = <26 GPIO_ACTIVE_HIGH>; /* GPIO90 */
				output-low;
				line-name = "bmc-usb-mux-sel";
			};

			bmc_usb2517_reset_n {
				gpio-hog;
				gpios = <27 GPIO_ACTIVE_LOW>; /* GPIO91 */
				output-low;
				line-name = "bmc-usb2517-reset-n";
			};

		};
		gpio3: gpio@f0013000 {
			/* Hog GPIOs 110-112 (ASSERT*) to low to avoid disturbing FET gates.*/
			assert_cpu0_reset {
				gpio-hog;
				gpios = <14 GPIO_ACTIVE_HIGH>; /* GPIO110 */
				output-low;
				line-name = "assert-cpu0-reset";
			};

			assert_pwrok_cpu0_n {
				gpio-hog;
				gpios = <15 GPIO_ACTIVE_HIGH>; /* GPIO111 */
				output-low;
				line-name = "assert-pwrok-cpu0-n";
			};

			assert_cpu0_prochot {
				gpio-hog;
				gpios = <16 GPIO_ACTIVE_HIGH>; /* GPIO112 */
				output-low;
				line-name = "assert-cpu0-prochot";
			};
		};
		gpio4: gpio@f0014000 {
			/* POST_COMPLETE=gpio143 */
			gpio-line-names =
				/*128-159*/
				"","","","","","","","",
				"","","","","","","","POST_COMPLETE",
				"","","","","","","","",
				"","","","","","","","";
		};
		gpio5: gpio@f0015000 {
			/* POWER_BUTTON=gpio177 */
			gpio-line-names =
				/*160-191*/
				"","","","","","","","",
				"","","","","","","","",
				"","POWER_BUTTON","","","","","","",
				"","","","","","","","";
		};
		gpio6: gpio@f0016000 {
			/* SIO_S5=gpio199 (CPU0_SLP_S5_N),RESET_BUTTON=gpio203 */
			gpio-line-names =
				/*192-223*/
				"","","","","","","","SIO_S5",
				"","","","RESET_BUTTON","","","","",
				"","","","","","","","",
				"","","","","","","","";
		};
	};
};
